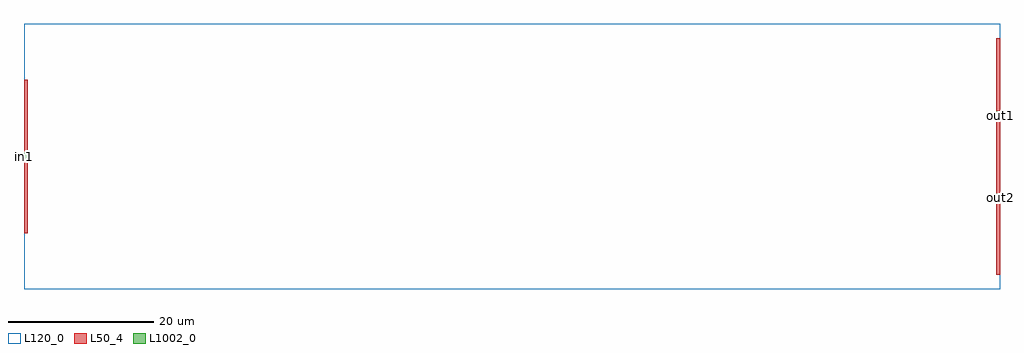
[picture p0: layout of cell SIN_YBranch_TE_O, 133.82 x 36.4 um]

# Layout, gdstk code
import gdstk
lib = gdstk.Library(unit=1e-6, precision=1e-09)
def R(c, l, rs):  # rectangles x0, y0, x1, y1
    for r in rs: c.add(gdstk.rectangle(r[:2], r[2:], *l))
L50_4 = (50, 4)
L120_0 = (120, 0)
L1002_0 = (1002, 0)

sin_ybranch_te_o = lib.new_cell('SIN_YBranch_TE_O')
R(sin_ybranch_te_o, L50_4, [(133.325,2,133.825,12), (0,7.65,0.5,17.65), (133.325,13.1,133.825,23.3), (0,18.75,0.5,28.75), (133.325,24.4,133.825,34.4)])
R(sin_ybranch_te_o, L120_0, [(0,0,133.825,36.4)])
R(sin_ybranch_te_o, L1002_0, [(133.325,12,133.825,13.1), (0,17.65,0.5,18.75), (133.325,23.3,133.825,24.4)])
sin_ybranch_te_o.add(gdstk.Label('out2', (133.825,12.633), layer=1000, texttype=0))
sin_ybranch_te_o.add(gdstk.Label('out1', (133.825,23.855), layer=1000, texttype=0))
sin_ybranch_te_o.add(gdstk.Label('in1', (0,18.224), layer=1000, texttype=0))

lib.write_gds('SIN_YBranch_TE_O.gds')
